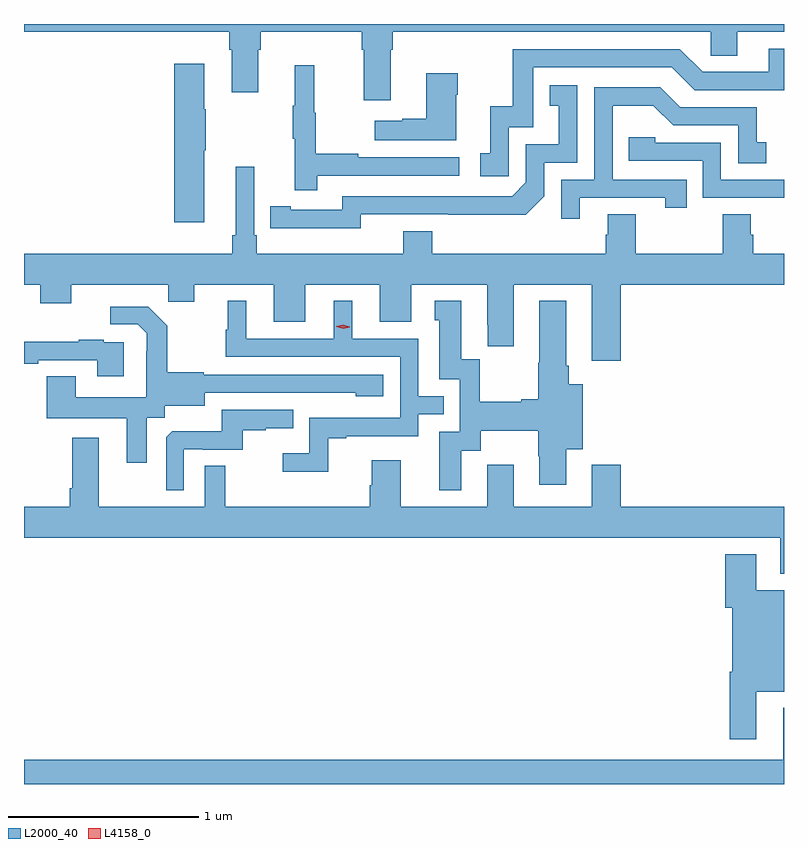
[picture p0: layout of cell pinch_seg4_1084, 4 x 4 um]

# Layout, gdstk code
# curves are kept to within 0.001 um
import gdstk
lib = gdstk.Library(unit=1e-6, precision=1e-09)
def P(c, l, *ps):  # polygons
    for p in ps: c.add(gdstk.Polygon(p, *l))
L2000_40 = (2000, 40)
L4158_0 = (4158, 0)

pinch_seg4_1084 = lib.new_cell('pinch_seg4_1084')
P(pinch_seg4_1084, L2000_40, [(575.191,800.72),(575.204,800.72),(575.204,800.816),(576.876,800.816),(576.876,800.689),(577.015,800.689),(577.015,800.816),(577.262,800.816),(577.262,800.856),(573.262,800.856),(573.262,800.816),(574.343,800.816),(574.343,800.72),(574.355,800.72),(574.355,800.496),(574.495,800.496),(574.495,800.72),(574.508,800.72),(574.508,800.816),(575.039,800.816),(575.039,800.72),(575.051,800.72),(575.051,800.454),(575.191,800.454)],
  [(575.814,800.313),(575.943,800.313),(575.943,800.628),(576.672,800.628),(576.792,800.508),(577.262,800.508),(577.262,800.727),(577.181,800.727),(577.181,800.604),(576.834,800.604),(576.714,800.724),(575.835,800.724),(575.835,800.422),(575.717,800.422),(575.717,800.175),(575.664,800.175),(575.664,800.055),(575.814,800.055)],
  [(574.21,800.191),(574.218,800.191),(574.218,800.408),(574.21,800.408),(574.21,800.647),(574.052,800.647),(574.052,799.812),(574.21,799.812)],
  [(574.805,800.058),(575.554,800.058),(575.554,800.154),(575.021,800.154),(575.021,800.174),(574.798,800.174),(574.798,800.388),(574.79,800.388),(574.79,800.638),(574.688,800.638),(574.688,800.425),(574.677,800.425),(574.677,800.251),(574.688,800.251),(574.688,799.98),(574.805,799.98)],
  [(575.536,800.483),(575.544,800.483),(575.544,800.596),(575.378,800.596),(575.378,800.357),(575.252,800.357),(575.252,800.347),(575.109,800.347),(575.109,800.243),(575.536,800.243)],
  [(575.034,799.854),(575.902,799.853),(576,799.95),(576,800.127),(576.174,800.127),(576.174,800.533),(576.028,800.533),(576.028,800.427),(576.077,800.427),(576.077,800.223),(575.904,800.223),(575.904,800.022),(575.832,799.95),(574.938,799.95),(574.938,799.878),(574.666,799.878),(574.666,799.898),(574.558,799.898),(574.558,799.782),(575.034,799.781)],
  [(576.187,799.941),(576.638,799.941),(576.638,799.89),(576.749,799.89),(576.749,800.037),(576.36,800.037),(576.36,800.426),(576.574,800.426),(576.678,800.322),(577.02,800.322),(577.02,800.124),(577.168,800.124),(577.168,800.233),(577.119,800.233),(577.119,800.418),(576.715,800.418),(576.61,800.523),(576.264,800.523),(576.264,800.037),(576.09,800.037),(576.09,799.83),(576.187,799.83)],
  [(577.262,800.037),(576.93,800.037),(576.93,800.232),(576.585,800.232),(576.585,800.259),(576.445,800.259),(576.445,800.136),(576.834,800.136),(576.834,799.941),(577.262,799.941)],
  [(576.404,799.484),(577.262,799.484),(577.262,799.648),(577.1,799.648),(577.1,799.746),(577.087,799.746),(577.087,799.856),(576.94,799.856),(576.94,799.648),(576.483,799.648),(576.483,799.856),(576.335,799.856),(576.335,799.746),(576.323,799.746),(576.323,799.648),(575.411,799.648),(575.411,799.765),(575.258,799.765),(575.258,799.648),(574.487,799.648),(574.487,799.744),(574.473,799.744),(574.473,800.104),(574.376,800.104),(574.376,799.744),(574.357,799.744),(574.357,799.648),(573.262,799.648),(573.262,799.484),(573.347,799.484),(573.347,799.385),(573.511,799.385),(573.511,799.484),(574.021,799.484),(574.021,799.394),(574.159,799.394),(574.159,799.484),(574.577,799.484),(574.577,799.29),(574.741,799.29),(574.741,799.484),(575.135,799.484),(575.135,799.29),(575.299,799.29),(575.299,799.484),(575.699,799.484),(575.699,799.273),(575.702,799.273),(575.702,799.161),(575.839,799.161),(575.839,799.484),(576.251,799.484),(576.251,799.083),(576.404,799.083)],
  [(574.863,798.675),(574.957,798.675),(574.957,798.687),(575.337,798.687),(575.337,798.801),(575.471,798.801),(575.471,798.897),(575.337,798.897),(575.337,799.2),(574.99,799.2),(574.99,799.399),(574.892,799.399),(574.892,799.2),(574.432,799.2),(574.432,799.399),(574.334,799.399),(574.334,799.248),(574.323,799.248),(574.323,799.104),(575.241,799.104),(575.241,798.783),(574.764,798.783),(574.764,798.598),(574.623,798.598),(574.623,798.5),(574.863,798.5)],
  [(575.563,798.61),(575.665,798.61),(575.665,798.716),(575.968,798.716),(575.968,798.582),(575.975,798.582),(575.975,798.432),(576.115,798.432),(576.115,798.617),(576.202,798.617),(576.202,798.961),(576.128,798.961),(576.128,799.057),(576.115,799.057),(576.115,799.399),(575.975,799.399),(575.975,799.073),(575.968,799.073),(575.968,798.881),(575.879,798.881),(575.879,798.868),(575.661,798.868),(575.661,799.091),(575.563,799.091),(575.563,799.399),(575.423,799.399),(575.423,799.296),(575.447,799.296),(575.447,798.987),(575.556,798.987),(575.556,798.711),(575.447,798.711),(575.447,798.402),(575.563,798.402)],
  [(573.907,798.784),(574.002,798.784),(574.002,798.848),(574.213,798.848),(574.213,798.915),(575.007,798.914),(575.007,798.896),(575.152,798.896),(575.152,799.011),(574.209,799.011),(574.209,799.024),(574.017,799.024),(574.017,799.269),(573.917,799.369),(573.717,799.369),(573.717,799.275),(573.861,799.275),(573.908,799.228),(573.908,799.133),(573.906,799.133),(573.906,798.892),(573.535,798.892),(573.535,799.001),(573.383,799.001),(573.383,798.782),(573.803,798.782),(573.803,798.546),(573.907,798.546)],
  [(573.787,799.182),(573.683,799.182),(573.683,799.195),(573.551,799.195),(573.551,799.184),(573.262,799.184),(573.262,799.068),(573.337,799.068),(573.337,799.086),(573.647,799.086),(573.647,799.002),(573.787,799.002)],
  [(574.104,798.618),(574.204,798.618),(574.204,798.615),(574.412,798.615),(574.412,798.717),(574.535,798.717),(574.535,798.728),(574.679,798.728),(574.679,798.825),(574.302,798.825),(574.302,798.713),(574.043,798.713),(574.011,798.681),(574.011,798.401),(574.104,798.401)],
  [(577.262,798.316),(576.404,798.316),(576.404,798.535),(576.251,798.535),(576.251,798.316),(575.839,798.316),(575.839,798.535),(575.699,798.535),(575.699,798.316),(575.245,798.316),(575.245,798.559),(575.093,798.559),(575.093,798.429),(575.081,798.429),(575.081,798.316),(574.321,798.316),(574.321,798.53),(574.212,798.53),(574.212,798.316),(573.655,798.316),(573.655,798.679),(573.515,798.679),(573.515,798.412),(573.503,798.412),(573.503,798.316),(573.262,798.316),(573.262,798.152),(577.241,798.152),(577.241,797.962),(577.262,797.962)],
  [(577.117,797.342),(577.262,797.342),(577.262,797.877),(577.117,797.877),(577.117,798.064),(576.953,798.064),(576.953,797.784),(576.989,797.784),(576.989,797.446),(576.977,797.446),(576.977,797.091),(577.117,797.091)],
  [(577.262,797.257),(577.259,797.257),(577.259,796.984),(573.262,796.984),(573.262,796.856),(577.262,796.856)])
P(pinch_seg4_1084, L4158_0, [(574.941,799.253),(574.905,799.263),(574.905,799.264),(574.905,799.264),(574.941,799.273),(574.977,799.262),(574.977,799.262),(574.977,799.261)])

lib.write_gds('pinch_seg4_1084.gds')
